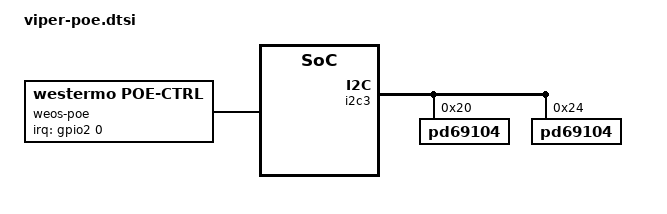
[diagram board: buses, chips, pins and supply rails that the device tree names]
&soc {
	i2c3: i2c@119000 {
		pd69104@20 {
			compatible = "pd69104";
			reg = <0x20>;
		};
		pd69104@24 {
			compatible = "pd69104";
			reg = <0x24>;
		};
	};

	weos-poe {
		compatible = "westermo,poe-ctrl";
		interrupt-parent = <&gpio2>;
		interrupts = <0 IRQ_TYPE_LEVEL_LOW>;

		port0 {
			/* ethX6 */
			ethport = < &opal_port2 >;
			/* ethport = < &{/mdio0/switch@4} >; */
			id = <0>;
			prio = <4>;
			device-address = <0x20>;
		};

		port1 {
			/* ethX5 */
			ethport = <&opal_port1>;
			id = <1>;
			prio = <3>;
			device-address = <0x20>;
		};

		port2 {
			/* ethX1 */
			ethport = <&opal_port0>;
			id = <2>;
			prio = <0>;
			device-address = <0x20>;
		};

		port3 {
			/* ethX2 */
			ethport = <&agate_port0>;
			id = <3>;
			prio = <1>;
			device-address = <0x20>;
		};

		port4 {
			/* ethX10 */
			ethport = <&opal_port5>;
			id = <4>;
			prio = <7>;
			device-address = <0x24>;
		};

		port5 {
			/* ethX9 */
			ethport = <&opal_port4>;
			id = <5>;
			prio = <6>;
			device-address = <0x24>;
		};

		port6 {
			/* ethX3 */
			ethport = <&agate_port4>; 
			id = <6>;
			prio = <2>;
			device-address = <0x24>;
		};

		port7 {
			/* ethX7 */
			ethport = <&opal_port3>;
			id = <7>;
			prio = <5>;
			device-address = <0x24>;
		};
	};
};
